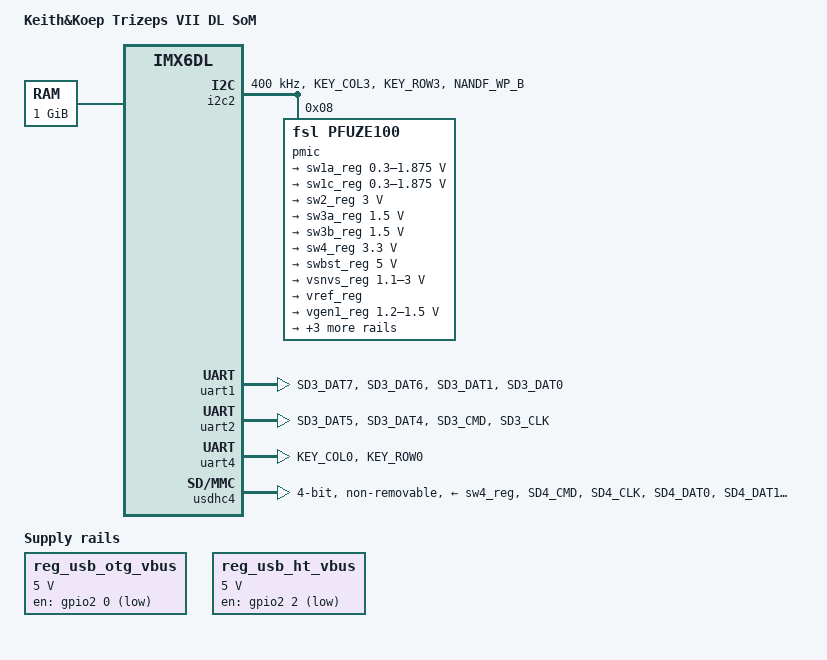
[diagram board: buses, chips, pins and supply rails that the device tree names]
// SPDX-License-Identifier: GPL-2.0
//
// Copyright 2016 Kai Ruhnau <kai.ruhnau@target-sg.com>

#include <dt-bindings/gpio/gpio.h>
#include <dt-bindings/input/input.h>
#include <dt-bindings/pwm/pwm.h>
#include "imx6dl.dtsi"

/ {
	model = "Keith&Koep Trizeps VII DL SoM";
	compatible = "keithkoep,imx6sx-trizeps-vii", "fsl,imx6dl";

	memory {
		reg = <0x10000000 0x40000000>;
	};

	regulators {
		compatible = "simple-bus";
		#address-cells = <1>;
		#size-cells = <0>;
		reg_usb_otg_vbus: regulator@0 {
			compatible = "regulator-fixed";
			reg = <0>;
			regulator-name = "usb_otg_vbus";
			regulator-min-microvolt = <5000000>;
			regulator-max-microvolt = <5000000>;
			gpio = <&gpio2 0 1>;
		};
		reg_usb_ht_vbus: regulator@1 {
			compatible = "regulator-fixed";
			reg = <1>;
			regulator-name = "usb_h1_vbus";
			regulator-min-microvolt = <5000000>;
			regulator-max-microvolt = <5000000>;
			gpio = <&gpio2 2 1>;
		};
	};
};


&i2c1 {
	clock-frequency = <400000>;
	pinctrl-names = "default";
	pinctrl-0 = <&pinctrl_i2c1>;
	status = "disabled";
};
&i2c2 {
	clock-frequency = <400000>;
	pinctrl-names = "default";
	pinctrl-0 = <&pinctrl_i2c2_2>;
	status = "okay";
	pmic: pfuze100@8 {
		compatible = "fsl,pfuze100";
		reg = < 0x08 >;
		status = "okay";
		regulators {
			sw1a_reg: sw1a {
				regulator-name = "PFUZE100_SW1A";
				regulator-min-microvolt = <300000>;
				regulator-max-microvolt = <1875000>;
				regulator-boot-on;
				regulator-always-on;
			};
			sw1c_reg: sw1c {
				regulator-name = "PFUZE100_SW1C";
				regulator-min-microvolt = <300000>;
				regulator-max-microvolt = <1875000>;
				regulator-always-on;
				regulator-boot-on;
			};
			sw2_reg: sw2 {
				regulator-name = "PFUZE100_SW2";
				regulator-min-microvolt = <3000000>;
				regulator-max-microvolt = <3000000>;
				regulator-boot-on;
			};
			sw3a_reg: sw3a {
				regulator-name = "PFUZE100_SW3A";
				regulator-min-microvolt = <1500000>;
				regulator-max-microvolt = <1500000>;
				regulator-always-on;
				regulator-boot-on;
			};
			sw3b_reg: sw3b {
				regulator-name = "PFUZE100_SW3B";
				regulator-min-microvolt = <1500000>;
				regulator-max-microvolt = <1500000>;
				regulator-always-on;
				regulator-boot-on;
			};
			sw4_reg: sw4 {
				regulator-name = "PFUZE100_SW4";
				regulator-min-microvolt = <3300000>;
				regulator-max-microvolt = <3300000>;
				regulator-always-on;
				regulator-boot-on;
			};
			swbst_reg: swbst {
				regulator-name = "PFUZE100_SWBST";
				regulator-min-microvolt = <5000000>;
				regulator-max-microvolt = <5000000>;
				regulator-always-on;
			};
			vsnvs_reg: vsnvs {
				regulator-name = "PFUZE100_VSNVS";
				regulator-min-microvolt = <1100000>;
				regulator-max-microvolt = <3000000>;
				regulator-always-on;
			};
			vref_reg: vrefddr {
				regulator-name = "PFUZE100_VREFDDR";
				regulator-always-on;
				regulator-boot-on;
			};
			vgen1_reg: vgen1 {
				regulator-name = "PFUZE100_VGEN1";
				regulator-min-microvolt = <1200000>;
				regulator-max-microvolt = <1500000>;
			};
			vgen4_reg: vgen4 {
				regulator-name = "PFUZE100_VGEN4";
				regulator-min-microvolt = <1800000>;
				regulator-max-microvolt = <1800000>;
				regulator-boot-on;
				regulator-always-on;
			};
			vgen5_reg: vgen5 {
				regulator-name = "PFUZE100_VGEN5";
				regulator-min-microvolt = <3300000>;
				regulator-max-microvolt = <3300000>;
				regulator-always-on;
			};
			vgen6_reg: vgen6 {
				regulator-name = "PFUZE100_VGEN6";
				regulator-min-microvolt = <2500000>;
				regulator-max-microvolt = <2500000>;
				regulator-always-on;
			};
		};
	};
};

&fec {
	pinctrl-names = "default";
	status = "disabled";
	phy-reset-gpios = <&gpio6 31 0>;
	phy-supply = <&sw4_reg>;
};

&uart1 {
	pinctrl-names = "default";
	pinctrl-0 = <&pinctrl_uart1_2>;
	status = "okay";
};

&uart2 {
	pinctrl-names = "default";
	pinctrl-0 = <&pinctrl_uart2_3>;
	status = "okay";
};

&uart4 {
	pinctrl-names = "default";
	pinctrl-0 = <&pinctrl_uart4_1>;
	status = "okay";
};

&usbh1 {
	vbus-supply = <&reg_usb_ht_vbus>;
	pinctrl-names = "default";
	pinctrl-0 = <&pinctrl_usbhost>;
	dr_mode = "host";
	status = "disabled";
	disable-over-current;
	maximum-speed = "full-speed";
};

&usbotg {
	vbus-supply = <&reg_usb_otg_vbus>;
	pinctrl-names = "default";
	pinctrl-0 = <&pinctrl_usbotg>;
	disable-over-current;
	status = "disabled";
};

&usdhc4 {
	pinctrl-names = "default";
	pinctrl-0 = <&pinctrl_usdhc4_1>;
	status = "okay";
	keep-power-in-suspend;
	non-removable;
	no-1-8-v;
	bus-width = <4>;
	vmmc-supply = <&sw4_reg>;
};

&pwm3 {
	status = "disabled";
};

&pwm4 {
	status = "disabled";
};

&weim {
	status = "disabled";
};

&pcie {
	status = "disabled";
};

&iomuxc {
	trizeps7-pconxs {
		pinctrl_gpio_poweroff: gpio_poweroffgrp {
			fsl,pins = <
				MX6QDL_PAD_KEY_COL4__GPIO4_IO14	0x80000000
			>;
		};
		pinctrl_i2c1: i2c1grp {
			fsl,pins = <
				MX6QDL_PAD_CSI0_DAT9__I2C1_SCL 0x4001b8b1
				MX6QDL_PAD_CSI0_DAT8__I2C1_SDA 0x4001b8b1
			>;
		};
		pinctrl_i2c2_2: i2c2grp-2 {
			fsl,pins = <
				MX6QDL_PAD_KEY_COL3__I2C2_SCL 0x4001b8b1
				MX6QDL_PAD_KEY_ROW3__I2C2_SDA 0x4001b8b1
				MX6QDL_PAD_NANDF_WP_B__GPIO6_IO09 0x130B0
			>;
		};
		pinctrl_enet_4_rmii: enetgrp-4-rmii {
			fsl,pins = <
				MX6QDL_PAD_ENET_MDIO__ENET_MDIO       0x1b0b0
				MX6QDL_PAD_ENET_MDC__ENET_MDC         0x1b0b0
				MX6QDL_PAD_ENET_RXD0__ENET_RX_DATA0   0x80000000
				MX6QDL_PAD_ENET_RXD1__ENET_RX_DATA1   0x80000000
				MX6QDL_PAD_ENET_CRS_DV__ENET_RX_EN    0x80000000
				MX6QDL_PAD_ENET_RX_ER__ENET_RX_ER     0x80000000
				MX6QDL_PAD_ENET_TX_EN__ENET_TX_EN     0x80000000
				MX6QDL_PAD_ENET_TXD0__ENET_TX_DATA0   0x80000000
				MX6QDL_PAD_ENET_TXD1__ENET_TX_DATA1   0x80000000
				MX6QDL_PAD_RGMII_TX_CTL__RGMII_TX_CTL 0x1b0b0
				MX6QDL_PAD_ENET_REF_CLK__ENET_TX_CLK  0x1b0b0
			>;
		};
		pinctrl_enet_4_rgmii: enetgrp-4-rgmii {
			fsl,pins = <
				MX6QDL_PAD_RGMII_RXC__RGMII_RXC 0x1b0b0
				MX6QDL_PAD_RGMII_RD0__RGMII_RD0	0x1b0b0
				MX6QDL_PAD_RGMII_RD1__RGMII_RD1	0x1b0b0
				MX6QDL_PAD_RGMII_RD2__RGMII_RD2	0x1b0b0
				MX6QDL_PAD_RGMII_RD3__RGMII_RD3	0x1b0b0
				MX6QDL_PAD_RGMII_RX_CTL__RGMII_RX_CTL 0x1b0b0
				MX6QDL_PAD_RGMII_TXC__RGMII_TXC	0x1b0b0
				MX6QDL_PAD_RGMII_TD0__RGMII_TD0	0x1b0b0
				MX6QDL_PAD_RGMII_TD1__RGMII_TD1	0x1b0b0
				MX6QDL_PAD_RGMII_TD2__RGMII_TD2	0x1b0b0
				MX6QDL_PAD_RGMII_TD3__RGMII_TD3	0x1b0b0
				MX6QDL_PAD_RGMII_TX_CTL__RGMII_TX_CTL 0x1b0b0
				MX6QDL_PAD_ENET_REF_CLK__ENET_TX_CLK 0x1b0b0
				MX6QDL_PAD_ENET_MDIO__ENET_MDIO	0x1b0b0
				MX6QDL_PAD_ENET_MDC__ENET_MDC 0x1b0b0
				MX6QDL_PAD_GPIO_16__ENET_REF_CLK 0x4001b0a8
			>;
		};
		pinctrl_uart1_2: uart1grp-2 {
		fsl,pins = <
			MX6QDL_PAD_SD3_DAT7__UART1_TX_DATA 0x1b0b1
			MX6QDL_PAD_SD3_DAT6__UART1_RX_DATA 0x1b0b1
			MX6QDL_PAD_SD3_DAT1__UART1_RTS_B 0x1b0b1
			MX6QDL_PAD_SD3_DAT0__UART1_CTS_B 0x1b0b1

			>;
		};
		pinctrl_uart2_3: uart2grp-3 {
			fsl,pins = <
				MX6QDL_PAD_SD3_DAT5__UART2_TX_DATA 0x1b0b1
				MX6QDL_PAD_SD3_DAT4__UART2_RX_DATA 0x1b0b1
				MX6QDL_PAD_SD3_CMD__UART2_CTS_B 0x1b0b1
				MX6QDL_PAD_SD3_CLK__UART2_RTS_B 0x1b0b1
			>;
		};
		pinctrl_uart4_1: uart4grp-1 {
			fsl,pins = <
				MX6QDL_PAD_KEY_COL0__UART4_TX_DATA 0x1b0b1
				MX6QDL_PAD_KEY_ROW0__UART4_RX_DATA 0x1b0b1
			>;
		};
		pinctrl_usbhost: usbhostgrp {
			fsl,pins = <
				MX6QDL_PAD_NANDF_D2__GPIO2_IO02	0x80000000
				MX6QDL_PAD_NANDF_D1__GPIO2_IO01	0x80000000
			>;
		};
		pinctrl_usbotg: usbotggrp {
			fsl,pins = <
				MX6QDL_PAD_GPIO_1__USB_OTG_ID 0x17059
				MX6QDL_PAD_NANDF_RB0__GPIO6_IO10 0x80000000
				MX6QDL_PAD_NANDF_D0__GPIO2_IO00 0x80000000
			>;
		};
		pinctrl_usdhc4_1: usdhc4grp-1 {
			fsl,pins = <
				MX6QDL_PAD_SD4_CMD__SD4_CMD    0x17059
				MX6QDL_PAD_SD4_CLK__SD4_CLK    0x10059
				MX6QDL_PAD_SD4_DAT0__SD4_DATA0 0x17059
				MX6QDL_PAD_SD4_DAT1__SD4_DATA1 0x17059
				MX6QDL_PAD_SD4_DAT2__SD4_DATA2 0x17059
				MX6QDL_PAD_SD4_DAT3__SD4_DATA3 0x17059
				MX6QDL_PAD_SD4_DAT4__SD4_DATA4 0x17059
				MX6QDL_PAD_SD4_DAT5__SD4_DATA5 0x17059
				MX6QDL_PAD_SD4_DAT6__SD4_DATA6 0x17059
				MX6QDL_PAD_SD4_DAT7__SD4_DATA7 0x17059
			>;
		};
	};
};
